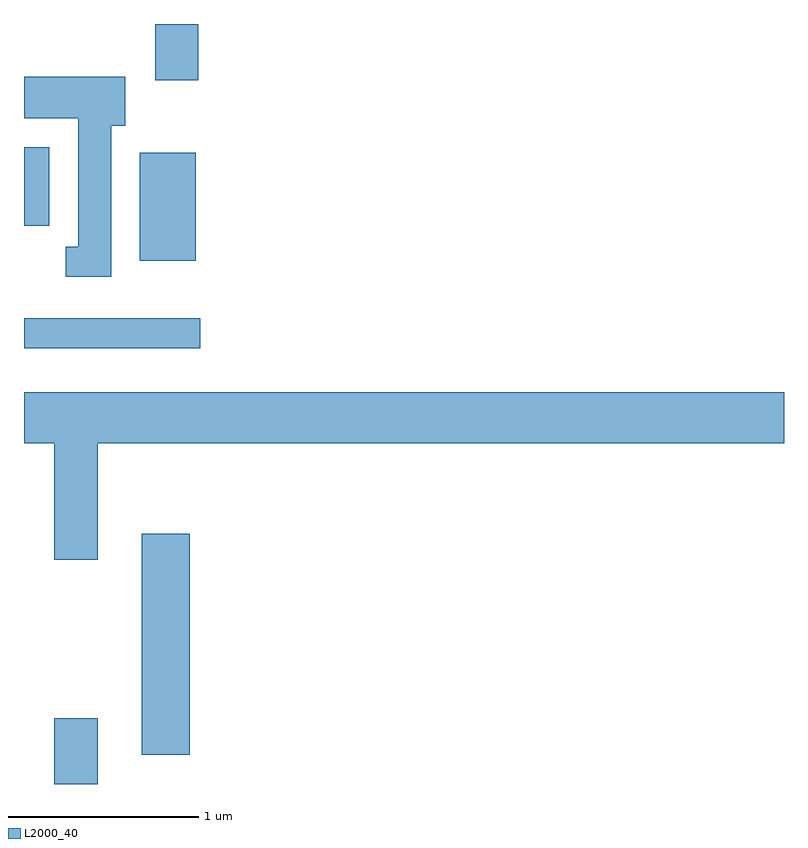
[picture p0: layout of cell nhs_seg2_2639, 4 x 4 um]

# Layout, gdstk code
import gdstk
lib = gdstk.Library(unit=1e-6, precision=1e-09)
def R(c, l, rs):  # rectangles x0, y0, x1, y1
    for r in rs: c.add(gdstk.rectangle(r[:2], r[2:], *l))
def P(c, l, *ps):  # polygons
    for p in ps: c.add(gdstk.Polygon(p, *l))
L2000_40 = (2000, 40)

nhs_seg2_2639 = lib.new_cell('nhs_seg2_2639')
R(nhs_seg2_2639, L2000_40, [(261.771,1099.802,261.999,1100.149), (262.231,1099.956,262.484,1101.119), (261.611,1102.096,262.538,1102.254), (262.221,1102.556,262.514,1103.124), (261.611,1102.741,261.744,1103.154), (262.301,1103.506,262.529,1103.802)])
P(nhs_seg2_2639, L2000_40, [(262.069,1103.266),(262.144,1103.266),(262.144,1103.524),(261.611,1103.524),(261.611,1103.306),(261.896,1103.306),(261.896,1102.629),(261.832,1102.629),(261.832,1102.471),(262.069,1102.471)],
  [(261.999,1101.596),(265.611,1101.596),(265.611,1101.864),(261.611,1101.864),(261.611,1101.596),(261.771,1101.596),(261.771,1100.981),(261.999,1100.981)])

lib.write_gds('nhs_seg2_2639.gds')
